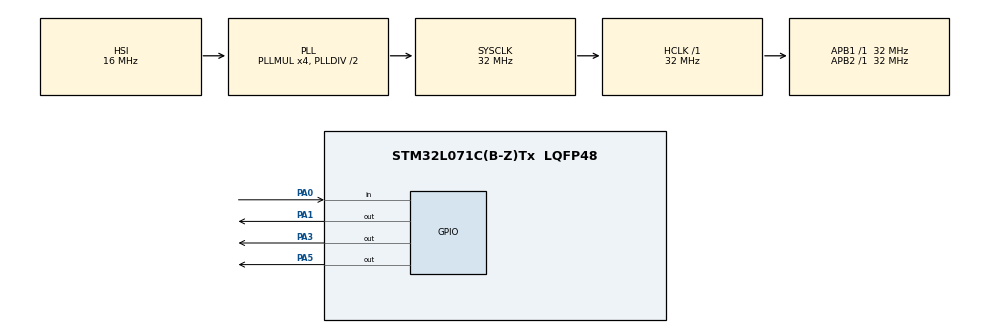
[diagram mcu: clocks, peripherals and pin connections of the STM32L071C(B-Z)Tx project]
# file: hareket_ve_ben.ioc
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Mcu.Family=STM32L0
Mcu.Name=STM32L071C(B-Z)Tx
Mcu.Package=LQFP48
PA0.Signal=GPIO_Input
PA1.Signal=GPIO_Output
PA3.Signal=GPIO_Output
PA5.Signal=GPIO_Output
ProjectManager.HeapSize=0x200
ProjectManager.StackSize=0x400
ProjectManager.TargetToolchain=STM32CubeIDE
RCC.AHBFreq_Value=32000000
RCC.APB1Freq_Value=32000000
RCC.APB1TimFreq_Value=32000000
RCC.APB2Freq_Value=32000000
RCC.APB2TimFreq_Value=32000000
RCC.HCLKFreq_Value=32000000
RCC.HSE_VALUE=8000000
RCC.HSI16_VALUE=16000000
RCC.HSI_VALUE=16000000
RCC.LSE_VALUE=32768
RCC.MSI_VALUE=2097000
RCC.PLLMUL=RCC_PLLMUL_4
RCC.SYSCLKFreq_VALUE=32000000
RCC.SYSCLKSource=RCC_SYSCLKSOURCE_PLLCLK
RCC.VCOOutputFreq_Value=64000000
TIM2.Period=0xffff
TIM2.Prescaler=31
VP_TIM2_VS_ClockSourceINT.Mode=Internal
board=custom

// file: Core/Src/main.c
/* USER CODE BEGIN Header */
/**
  ******************************************************************************
  * @file           : main.c
  * @brief          : Main program body
  ******************************************************************************
  * @attention
  *
  * Copyright (c) 2025 STMicroelectronics.
  * All rights reserved.
  *
  * This software is licensed under terms that can be found in the LICENSE file
  * in the root directory of this software component.
  * If no LICENSE file comes with this software, it is provided AS-IS.
  *
  ******************************************************************************
  */
/* USER CODE END Header */
#include "main.h"

/* USER CODE BEGIN Includes */

#include <stdbool.h>
#include "PYD1588.h"

#include "stdio.h"

/* USER CODE END Includes */

TIM_HandleTypeDef htim2;

/* USER CODE BEGIN PV */
volatile bool motion_flag = false;
uint16_t adc=0;
uint64_t full_data =0;

/* USER CODE END PV */

void SystemClock_Config(void);
static void MX_GPIO_Init(void);
static void MX_TIM2_Init(void);

int main(void)
{

  /* MCU Configuration--------------------------------------------------------*/

  /* Reset of all peripherals, Initializes the Flash interface and the Systick. */
  HAL_Init();

  /* Configure the system clock */
  SystemClock_Config();

  /* Initialize all configured peripherals */
  MX_GPIO_Init();
  MX_TIM2_Init();
  /* USER CODE BEGIN 2 */

  pyd_init(
		 100,		 				 // Threshold
		 PYD_BLIND_TIME_2S,			 // Blind Time
         PYD_PULSE_CNT_2,            // Pulse Counter
         PYD_WINDOW_TIME_4S,         // Window Time
		 PYD_OP_MODE_INTERRUPT,      // Operation Mode: INT
         PYD_SIGNAL_SRC_BPF,         // Signal Source: BPF
         PYD_HPF_0_4HZ,              // HPF
         PYD_COUNT_WITH_SIGN         // Count mode
     );

  HAL_Delay(100);
  process_motion_data();

  /* USER CODE END 2 */

  /* Infinite loop */
  while (1)
  {

    /* USER CODE BEGIN 3 */
/*
	  if (motion_flag)
	  {
	    HAL_GPIO_WritePin(GPIOA, GPIO_PIN_3, GPIO_PIN_SET);
	    HAL_Delay(500);
	    HAL_GPIO_WritePin(GPIOA, GPIO_PIN_3, GPIO_PIN_RESET);
	    motion_flag = false;

	//    process_motion_data();
	  }
*/
/*
	  if (motion_flag)
	  {
		motion_flag = false;
		process_motion_data();

	  }
*/

	  if(HAL_GPIO_ReadPin(PYD_DIRECT_PORT, PYD_DIRECT_PIN) == GPIO_PIN_SET)
	  {
			//process_motion_data();
		     full_data = pyd_try_read_data_if_valid();
		     adc = PYD_GET_ADC(full_data);

	  }

  }

  /* USER CODE END 3 */
}

void SystemClock_Config(void)
{
  RCC_OscInitTypeDef RCC_OscInitStruct = {0};
  RCC_ClkInitTypeDef RCC_ClkInitStruct = {0};

  /** Configure the main internal regulator output voltage
  */
  __HAL_PWR_VOLTAGESCALING_CONFIG(PWR_REGULATOR_VOLTAGE_SCALE1);

  /** Initializes the RCC Oscillators according to the specified parameters
  * in the RCC_OscInitTypeDef structure.
  */
  RCC_OscInitStruct.OscillatorType = RCC_OSCILLATORTYPE_HSI;
  RCC_OscInitStruct.HSIState = RCC_HSI_ON;
  RCC_OscInitStruct.HSICalibrationValue = RCC_HSICALIBRATION_DEFAULT;
  RCC_OscInitStruct.PLL.PLLState = RCC_PLL_ON;
  RCC_OscInitStruct.PLL.PLLSource = RCC_PLLSOURCE_HSI;
  RCC_OscInitStruct.PLL.PLLMUL = RCC_PLLMUL_4;
  RCC_OscInitStruct.PLL.PLLDIV = RCC_PLLDIV_2;
  if (HAL_RCC_OscConfig(&RCC_OscInitStruct) != HAL_OK)
  {
    Error_Handler();
  }

  /** Initializes the CPU, AHB and APB buses clocks
  */
  RCC_ClkInitStruct.ClockType = RCC_CLOCKTYPE_HCLK|RCC_CLOCKTYPE_SYSCLK
                              |RCC_CLOCKTYPE_PCLK1|RCC_CLOCKTYPE_PCLK2;
  RCC_ClkInitStruct.SYSCLKSource = RCC_SYSCLKSOURCE_PLLCLK;
  RCC_ClkInitStruct.AHBCLKDivider = RCC_SYSCLK_DIV1;
  RCC_ClkInitStruct.APB1CLKDivider = RCC_HCLK_DIV1;
  RCC_ClkInitStruct.APB2CLKDivider = RCC_HCLK_DIV1;

  if (HAL_RCC_ClockConfig(&RCC_ClkInitStruct, FLASH_LATENCY_1) != HAL_OK)
  {
    Error_Handler();
  }
}

static void MX_TIM2_Init(void)
{

  TIM_ClockConfigTypeDef sClockSourceConfig = {0};
  TIM_MasterConfigTypeDef sMasterConfig = {0};

  htim2.Instance = TIM2;
  htim2.Init.Prescaler = 31;
  htim2.Init.CounterMode = TIM_COUNTERMODE_UP;
  htim2.Init.Period = 0xffff;
  htim2.Init.ClockDivision = TIM_CLOCKDIVISION_DIV1;
  htim2.Init.AutoReloadPreload = TIM_AUTORELOAD_PRELOAD_DISABLE;
  if (HAL_TIM_Base_Init(&htim2) != HAL_OK)
  {
    Error_Handler();
  }
  sClockSourceConfig.ClockSource = TIM_CLOCKSOURCE_INTERNAL;
  if (HAL_TIM_ConfigClockSource(&htim2, &sClockSourceConfig) != HAL_OK)
  {
    Error_Handler();
  }
  sMasterConfig.MasterOutputTrigger = TIM_TRGO_RESET;
  sMasterConfig.MasterSlaveMode = TIM_MASTERSLAVEMODE_DISABLE;
  if (HAL_TIMEx_MasterConfigSynchronization(&htim2, &sMasterConfig) != HAL_OK)
  {
    Error_Handler();
  }

}

static void MX_GPIO_Init(void)
{
  GPIO_InitTypeDef GPIO_InitStruct = {0};

  /* GPIO Ports Clock Enable */
  __HAL_RCC_GPIOA_CLK_ENABLE();

  /*Configure GPIO pin Output Level */
  HAL_GPIO_WritePin(GPIOA, GPIO_PIN_1|GPIO_PIN_3|GPIO_PIN_5, GPIO_PIN_RESET);

  /*Configure GPIO pin : PA0 */
  GPIO_InitStruct.Pin = GPIO_PIN_0;
  GPIO_InitStruct.Mode = GPIO_MODE_INPUT;
  GPIO_InitStruct.Pull = GPIO_NOPULL;
  HAL_GPIO_Init(GPIOA, &GPIO_InitStruct);

  /*Configure GPIO pins : PA1 PA3 PA5 */
  GPIO_InitStruct.Pin = GPIO_PIN_1|GPIO_PIN_3|GPIO_PIN_5;
  GPIO_InitStruct.Mode = GPIO_MODE_OUTPUT_PP;
  GPIO_InitStruct.Pull = GPIO_NOPULL;
  GPIO_InitStruct.Speed = GPIO_SPEED_FREQ_LOW;
  HAL_GPIO_Init(GPIOA, &GPIO_InitStruct);

}

/* USER CODE BEGIN 4 */

void delay_us(uint16_t us)
{
    __HAL_TIM_SET_COUNTER(&htim2, 0);
    HAL_TIM_Base_Start(&htim2);
    while (__HAL_TIM_GET_COUNTER(&htim2) < us);
    HAL_TIM_Base_Stop(&htim2);
}

//static uint64_t full_data = 0;
//static uint16_t adc = 0;

void process_motion_data(void)
{
    full_data = pyd_try_read_data_if_valid();

    adc = PYD_GET_ADC(full_data);

    if (adc >= 16000)
    {
        HAL_GPIO_WritePin(HUMAN_PORT, HUMAN_PIN, GPIO_PIN_SET);
        HAL_Delay(1000);
        HAL_GPIO_WritePin(HUMAN_PORT, HUMAN_PIN, GPIO_PIN_RESET);
        HAL_Delay(1000);

    }
    else if (adc >= 500)
    {
        HAL_GPIO_WritePin(ANIMAL_PORT, ANIMAL_PIN, GPIO_PIN_SET);
        HAL_Delay(1000);
        HAL_GPIO_WritePin(ANIMAL_PORT, ANIMAL_PIN, GPIO_PIN_RESET);
        HAL_Delay(1000);

    }
    else{
    	HAL_GPIO_WritePin(HUMAN_PORT, HUMAN_PIN, GPIO_PIN_RESET);
    	HAL_GPIO_WritePin(ANIMAL_PORT, ANIMAL_PIN, GPIO_PIN_RESET);
        HAL_Delay(1000);

    }

}

/*
void HAL_GPIO_EXTI_Callback(uint16_t GPIO_Pin)
{

    if (GPIO_Pin == GPIO_PIN_0)
    {
    	 if (HAL_GPIO_ReadPin(PYD_DIRECT_PORT, PYD_DIRECT_PIN) == GPIO_PIN_SET)
    	 {
    		 motion_flag = true;
         }
    }

}

void pyd_clear_interrupt(void)
{
    GPIO_InitTypeDef GPIO_InitStruct = {0};

    // 1. Pin çıkış moduna alınır (OUTPUT) ve LOW yapılır
    GPIO_InitStruct.Pin = PYD_DIRECT_PIN;
    GPIO_InitStruct.Mode = GPIO_MODE_OUTPUT_PP;
    GPIO_InitStruct.Pull = GPIO_NOPULL;
    HAL_GPIO_Init(PYD_DIRECT_PORT, &GPIO_InitStruct);

    HAL_GPIO_WritePin(PYD_DIRECT_PORT, PYD_DIRECT_PIN, GPIO_PIN_RESET);

    // 2. En az 160 mikro saniye bekle
    delay_us(200);

    // 3. Pin tekrar kesme girişi (input interrupt) yapılır
    GPIO_InitStruct.Mode = GPIO_MODE_IT_RISING;
    HAL_GPIO_Init(PYD_DIRECT_PORT, &GPIO_InitStruct);

    pyd_delay_us(650);

}
*/

/* USER CODE END 4 */

void Error_Handler(void)
{
  __disable_irq();
  while (1)
  {
  }
}
